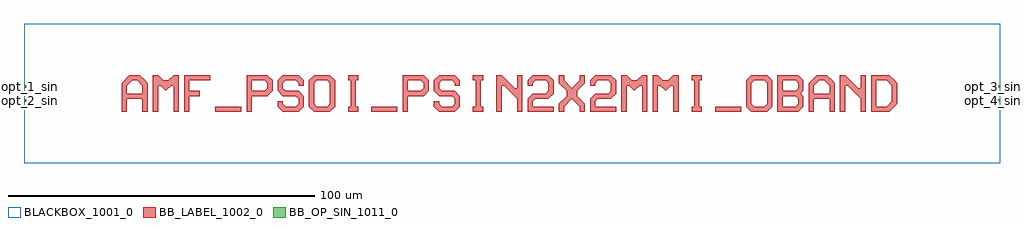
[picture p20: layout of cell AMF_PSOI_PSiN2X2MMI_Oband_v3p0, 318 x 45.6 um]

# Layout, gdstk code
import gdstk
lib = gdstk.Library(unit=1e-6, precision=1e-09)
def R(c, l, rs):  # rectangles x0, y0, x1, y1
    for r in rs: c.add(gdstk.rectangle(r[:2], r[2:], *l))
def P(c, l, *ps):  # polygons
    for p in ps: c.add(gdstk.Polygon(p, *l))
BLACKBOX_1001_0 = (1001, 0)
BB_LABEL_1002_0 = (1002, 0)
BB_OP_SIN_1011_0 = (1011, 0)

amf_psoi_psin2x2mmi_oban = lib.new_cell('AMF_PSOI_PSiN2X2MMI_Oband_v3p0')
R(amf_psoi_psin2x2mmi_oban, BLACKBOX_1001_0, [(0,-22.8,318,22.8)])
R(amf_psoi_psin2x2mmi_oban, BB_LABEL_1002_0, [(62.328,-5.936,70.808,-4.24), (113.208,-5.936,121.688,-4.24), (225.144,-5.936,233.624,-4.24)])
P(amf_psoi_psin2x2mmi_oban, BB_LABEL_1002_0, [(31.8,-5.936),(31.8,3.392),(34.344,5.936),(37.736,5.936),(39.432,4.24),(35.192,4.24),(33.496,2.544),(33.496,0),(38.584,0),(38.584,2.544),(36.888,4.24),(39.432,4.24),(40.28,3.392),(40.28,-5.936),(38.584,-5.936),(38.584,-1.696),(33.496,-1.696),(33.496,-5.936)],
  [(41.976,-5.936),(41.976,5.936),(43.672,5.936),(45.368,4.24),(47.064,4.24),(48.76,5.936),(50.456,5.936),(50.456,-5.936),(48.76,-5.936),(48.76,2.544),(47.912,2.544),(46.216,0.848),(44.52,2.544),(43.672,2.544),(43.672,-5.936)],
  [(52.152,-5.936),(52.152,5.936),(60.632,5.936),(60.632,4.24),(53.848,4.24),(53.848,0.848),(57.24,0.848),(57.24,-0.848),(53.848,-0.848),(53.848,-5.936)],
  [(72.504,-5.936),(72.504,5.936),(79.288,5.936),(80.984,4.24),(80.984,0.848),(79.288,-0.848),(74.2,-0.848),(74.2,0.848),(78.44,0.848),(79.288,1.696),(79.288,3.392),(78.44,4.24),(74.2,4.24),(74.2,-5.936)],
  [(84.376,-5.936),(82.68,-4.24),(82.68,-2.544),(84.376,-2.544),(84.376,-3.392),(85.224,-4.24),(88.616,-4.24),(89.464,-3.392),(89.464,-1.696),(88.616,-0.848),(84.376,-0.848),(82.68,0.848),(82.68,4.24),(84.376,5.936),(89.464,5.936),(91.16,4.24),(91.16,2.544),(89.464,2.544),(89.464,3.392),(88.616,4.24),(85.224,4.24),(84.376,3.392),(84.376,1.696),(85.224,0.848),(89.464,0.848),(91.16,-0.848),(91.16,-4.24),(89.464,-5.936)],
  [(94.552,-5.936),(92.856,-4.24),(92.856,4.24),(94.552,5.936),(99.64,5.936),(101.336,4.24),(101.336,0),(99.64,0),(99.64,3.392),(98.792,4.24),(95.4,4.24),(94.552,3.392),(94.552,-3.392),(95.4,-4.24),(98.792,-4.24),(99.64,-3.392),(99.64,0),(101.336,0),(101.336,-4.24),(99.64,-5.936)],
  [(105.576,-5.936),(105.576,-4.24),(106.424,-4.24),(106.424,4.24),(105.576,4.24),(105.576,5.936),(108.968,5.936),(108.968,4.24),(108.12,4.24),(108.12,-4.24),(108.968,-4.24),(108.968,-5.936)],
  [(123.384,-5.936),(123.384,5.936),(130.168,5.936),(131.864,4.24),(131.864,0.848),(130.168,-0.848),(125.08,-0.848),(125.08,0.848),(129.32,0.848),(130.168,1.696),(130.168,3.392),(129.32,4.24),(125.08,4.24),(125.08,-5.936)],
  [(135.256,-5.936),(133.56,-4.24),(133.56,-2.544),(135.256,-2.544),(135.256,-3.392),(136.104,-4.24),(139.496,-4.24),(140.344,-3.392),(140.344,-1.696),(139.496,-0.848),(135.256,-0.848),(133.56,0.848),(133.56,4.24),(135.256,5.936),(140.344,5.936),(142.04,4.24),(142.04,2.544),(140.344,2.544),(140.344,3.392),(139.496,4.24),(136.104,4.24),(135.256,3.392),(135.256,1.696),(136.104,0.848),(140.344,0.848),(142.04,-0.848),(142.04,-4.24),(140.344,-5.936)],
  [(146.28,-5.936),(146.28,-4.24),(147.128,-4.24),(147.128,4.24),(146.28,4.24),(146.28,5.936),(149.672,5.936),(149.672,4.24),(148.824,4.24),(148.824,-4.24),(149.672,-4.24),(149.672,-5.936)],
  [(153.912,-5.936),(153.912,5.936),(155.608,5.936),(159.848,1.696),(160.696,1.696),(160.696,5.936),(162.392,5.936),(162.392,-5.936),(160.696,-5.936),(160.696,-1.696),(156.456,2.544),(155.608,2.544),(155.608,-5.936)],
  [(164.088,-5.936),(164.088,-1.696),(165.784,0),(170.024,0),(170.872,0.848),(170.872,3.392),(170.024,4.24),(166.632,4.24),(165.784,3.392),(165.784,2.544),(164.088,2.544),(164.088,4.24),(165.784,5.936),(170.872,5.936),(172.568,4.24),(172.568,0),(170.872,-1.696),(166.632,-1.696),(165.784,-2.544),(165.784,-4.24),(172.568,-4.24),(172.568,-5.936)],
  [(174.264,-5.936),(174.264,-3.392),(176.808,-0.848),(176.808,0.848),(174.264,3.392),(174.264,5.936),(175.96,5.936),(175.96,4.24),(178.504,1.696),(181.048,4.24),(181.048,5.936),(182.744,5.936),(182.744,3.392),(180.2,0.848),(180.2,-0.848),(182.744,-3.392),(182.744,-5.936),(181.048,-5.936),(181.048,-4.24),(178.504,-1.696),(175.96,-4.24),(175.96,-5.936)],
  [(184.44,-5.936),(184.44,-1.696),(186.136,0),(190.376,0),(191.224,0.848),(191.224,3.392),(190.376,4.24),(186.984,4.24),(186.136,3.392),(186.136,2.544),(184.44,2.544),(184.44,4.24),(186.136,5.936),(191.224,5.936),(192.92,4.24),(192.92,0),(191.224,-1.696),(186.984,-1.696),(186.136,-2.544),(186.136,-4.24),(192.92,-4.24),(192.92,-5.936)],
  [(194.616,-5.936),(194.616,5.936),(196.312,5.936),(198.008,4.24),(199.704,4.24),(201.4,5.936),(203.096,5.936),(203.096,-5.936),(201.4,-5.936),(201.4,2.544),(200.552,2.544),(198.856,0.848),(197.16,2.544),(196.312,2.544),(196.312,-5.936)],
  [(204.792,-5.936),(204.792,5.936),(206.488,5.936),(208.184,4.24),(209.88,4.24),(211.576,5.936),(213.272,5.936),(213.272,-5.936),(211.576,-5.936),(211.576,2.544),(210.728,2.544),(209.032,0.848),(207.336,2.544),(206.488,2.544),(206.488,-5.936)],
  [(217.512,-5.936),(217.512,-4.24),(218.36,-4.24),(218.36,4.24),(217.512,4.24),(217.512,5.936),(220.904,5.936),(220.904,4.24),(220.056,4.24),(220.056,-4.24),(220.904,-4.24),(220.904,-5.936)],
  [(237.016,-5.936),(235.32,-4.24),(235.32,4.24),(237.016,5.936),(242.104,5.936),(243.8,4.24),(243.8,0),(242.104,0),(242.104,3.392),(241.256,4.24),(237.864,4.24),(237.016,3.392),(237.016,-3.392),(237.864,-4.24),(241.256,-4.24),(242.104,-3.392),(242.104,0),(243.8,0),(243.8,-4.24),(242.104,-5.936)],
  [(245.496,-5.936),(245.496,5.936),(252.28,5.936),(253.976,4.24),(247.192,4.24),(247.192,0.848),(251.432,0.848),(252.28,1.696),(252.28,3.392),(251.432,4.24),(253.976,4.24),(253.976,0.848),(253.128,0),(253.976,-0.848),(247.192,-0.848),(247.192,-4.24),(251.432,-4.24),(252.28,-3.392),(252.28,-1.696),(251.432,-0.848),(253.976,-0.848),(253.976,-4.24),(252.28,-5.936)],
  [(255.672,-5.936),(255.672,3.392),(258.216,5.936),(261.608,5.936),(263.304,4.24),(259.064,4.24),(257.368,2.544),(257.368,0),(262.456,0),(262.456,2.544),(260.76,4.24),(263.304,4.24),(264.152,3.392),(264.152,-5.936),(262.456,-5.936),(262.456,-1.696),(257.368,-1.696),(257.368,-5.936)],
  [(265.848,-5.936),(265.848,5.936),(267.544,5.936),(271.784,1.696),(272.632,1.696),(272.632,5.936),(274.328,5.936),(274.328,-5.936),(272.632,-5.936),(272.632,-1.696),(268.392,2.544),(267.544,2.544),(267.544,-5.936)],
  [(276.024,-5.936),(276.024,5.936),(281.96,5.936),(283.656,4.24),(277.72,4.24),(277.72,-4.24),(281.112,-4.24),(282.808,-2.544),(282.808,2.544),(281.112,4.24),(283.656,4.24),(284.504,3.392),(284.504,-3.392),(281.96,-5.936)])
R(amf_psoi_psin2x2mmi_oban, BB_OP_SIN_1011_0, [(0,-2.7,0.8,-1.9), (317.2,-2.7,318,-1.9), (0,1.9,0.8,2.7), (317.2,1.9,318,2.7)])
amf_psoi_psin2x2mmi_oban.add(gdstk.Label('opt_1_sin', (0,2.3), layer=1011, texttype=0))
amf_psoi_psin2x2mmi_oban.add(gdstk.Label('opt_2_sin', (0,-2.3), layer=1011, texttype=0))
amf_psoi_psin2x2mmi_oban.add(gdstk.Label('opt_3_sin', (318,2.3), layer=1011, texttype=0))
amf_psoi_psin2x2mmi_oban.add(gdstk.Label('opt_4_sin', (318,-2.3), layer=1011, texttype=0))

lib.write_gds('AMF_PSOI_PSiN2X2MMI_Oband_v3p0.gds')
